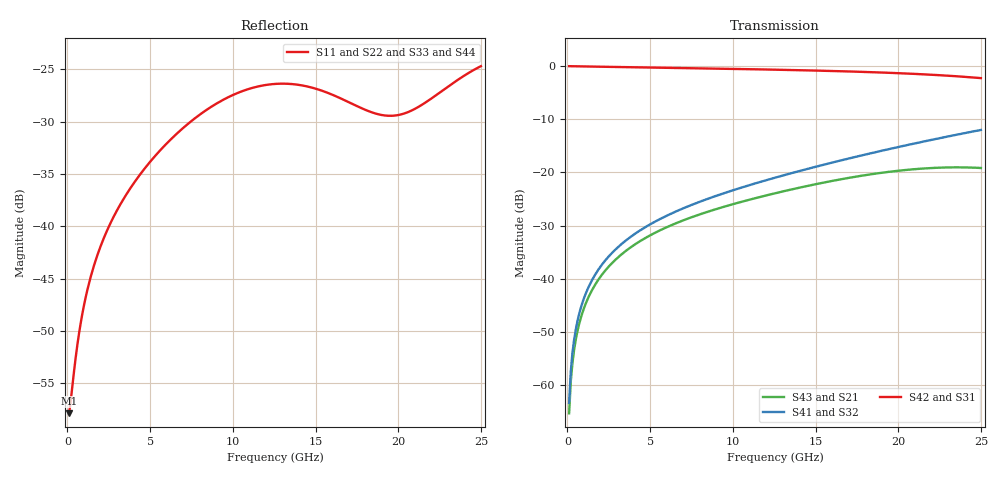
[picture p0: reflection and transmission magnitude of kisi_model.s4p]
! kisi E_s8_L1L8_p1000_oval_g4: fast channel model (formula impedances, via model), up to 25 GHz
# Hz S RI R 50
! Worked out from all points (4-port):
!   250 points, 100 MHz to 25 GHz, reference 50 ohm
!   strongest paths, dB at 100 MHz, 6.3 GHz, 12.6 GHz, 18.8 GHz, 25 GHz:
!     S42: 0.0, -0.3, -0.7, -1.2, -2.3
!     S31: 0.0, -0.3, -0.7, -1.2, -2.3
!     S41: -63.4, -27.7, -20.9, -16.1, -12.0
!     S32: -63.4, -27.7, -20.9, -16.1, -12.0
!     S43: -65.3, -29.9, -23.9, -20.1, -19.2
!     S21: -65.3, -29.9, -23.9, -20.1, -19.2
!   lowest |S11| = -57.9 dB at 100 MHz (marker M1), VSWR 1.00, Z = 50.1 - j0.0367 ohm
!   |S11| at or under -10 dB: start of sweep to end of sweep
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1e8  0.00122 -0.000366  2.7e-05 0.000543  0.9974 -0.0382  -3.7e-05 -0.000678
     2.7e-05 0.000543  0.00122 -0.000366  -3.7e-05 -0.000678  0.9974 -0.0382
     0.9974 -0.0382  -3.7e-05 -0.000678  0.00122 -0.000366  2.7e-05 0.000543
     -3.7e-05 -0.000678  0.9974 -0.0382  2.7e-05 0.000543  0.00122 -0.000366
4.1e9  -0.0164 0.00143  0.0211 0.00138  0.0653 -0.9724  -0.0266 -0.00142
       0.0211 0.00138  -0.0164 0.00143  -0.0266 -0.00142  0.0653 -0.9724
       0.0653 -0.9724  -0.0266 -0.00142  -0.0164 0.00143  0.0211 0.00138
       -0.0266 -0.00142  0.0653 -0.9724  0.0211 0.00138  -0.0164 0.00143
8e9  -0.00479 0.0338  0.00891 -0.0393  -0.9299 -0.2093  -0.0107 0.0519
     0.00891 -0.0393  -0.00479 0.0338  -0.0107 0.0519  -0.9299 -0.2093
     -0.9299 -0.2093  -0.0107 0.0519  -0.00479 0.0338  0.00891 -0.0393
     -0.0107 0.0519  -0.9299 -0.2093  0.00891 -0.0393  -0.00479 0.0338
1.26e10  0.0464 0.0119  -0.0636 -0.00692  -0.1074 0.9186  0.0894 0.00706
         -0.0636 -0.00692  0.0464 0.0119  0.0894 0.00706  -0.1074 0.9186
         -0.1074 0.9186  0.0894 0.00706  0.0464 0.0119  -0.0636 -0.00692
         0.0894 0.00706  -0.1074 0.9186  -0.0636 -0.00692  0.0464 0.0119
1.7e10  0.0212 -0.033  -0.00028 0.0889  0.8884 0.0604  -0.00336 -0.1351
        -0.00028 0.0889  0.0212 -0.033  -0.00336 -0.1351  0.8884 0.0604
        0.8884 0.0604  -0.00336 -0.1351  0.0212 -0.033  -0.00028 0.0889
        -0.00336 -0.1351  0.8884 0.0604  -0.00028 0.0889  0.0212 -0.033
2.1e10  -0.00308 -0.0362  0.1074 -0.00306  0.1212 -0.8357  -0.1873 0.00792
        0.1074 -0.00306  -0.00308 -0.0362  -0.1873 0.00792  0.1212 -0.8357
        0.1212 -0.8357  -0.1873 0.00792  -0.00308 -0.0362  0.1074 -0.00306
        -0.1873 0.00792  0.1212 -0.8357  0.1074 -0.00306  -0.00308 -0.0362
2.5e10  -0.0516 -0.027  -0.0123 -0.1094  -0.756 -0.1499  0.0342 0.2486
        -0.0123 -0.1094  -0.0516 -0.027  0.0342 0.2486  -0.756 -0.1499
        -0.756 -0.1499  0.0342 0.2486  -0.0516 -0.027  -0.0123 -0.1094
        0.0342 0.2486  -0.756 -0.1499  -0.0123 -0.1094  -0.0516 -0.027
